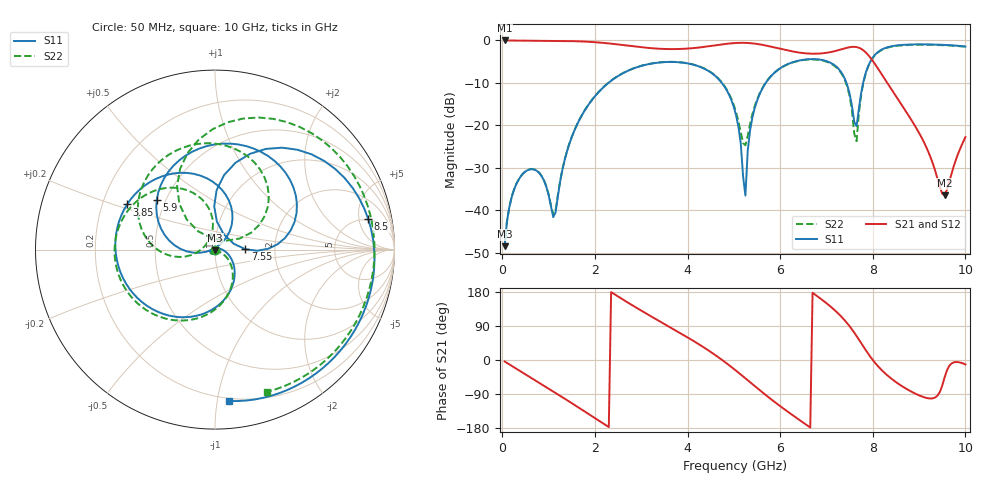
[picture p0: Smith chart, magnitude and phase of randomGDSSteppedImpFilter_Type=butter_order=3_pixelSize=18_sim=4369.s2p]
! freq	dB(S11)	phase(S11)	dB(S12)	phase(S12)
!  dB(S21)	phase(S21)	dB(S22)	phase(S22)
!S-par simulation data
#  GHz  S  DB  R 50
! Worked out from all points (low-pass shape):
!   200 points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, 50 MHz to 10 GHz, reference 50 ohm
!   highest |S21| = -0.01 dB at 50 MHz (marker M1); lowest = -36.5 dB at 9.55 GHz (marker M2)
!   |S21| within 3 dB of the highest: start of sweep to 6.522 GHz; 6.938 GHz to 7.864 GHz (926.6 MHz wide, 12.5 % of centre)
!   lowest |S11| = -48.5 dB at 50 MHz (marker M3), VSWR 1.01, Z = 50 - j0.375 ohm
!   |S11| at or under -10 dB: start of sweep to 2.292 GHz; 4.74 GHz to 5.69 GHz (950.4 MHz wide, 18.2 % of centre); 7.431 GHz to 7.793 GHz (362 MHz wide, 4.76 % of centre)
!   |S22| runs from -48.5 to -1.0 dB; largest |S21 - S12| = 0
!   S11 on the Smith chart (normalised r, x): 50 MHz: 1.00, -0.01; 3.85 GHz: 0.31, +0.22; 5.9 GHz: 0.45, +0.30; 7.55 GHz: 1.41, +0.01; 8.5 GHz: 4.82, +6.77; 10 GHz: 0.18, -1.08
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0.05  -48.47 -83.7  -0.01 -3.8  -0.01 -3.8  -48.45 -82.9
0.2  -37.02 -104.0  -0.03 -15.1  -0.03 -15.1  -36.99 -100.8
0.55  -30.55 -136.0  -0.06 -41.4  -0.06 -41.4  -30.50 -125.4
1.1  -41.63 112.4  -0.10 -82.9  -0.10 -82.9  -40.99 -98.2
1.75  -17.04 -41.2  -0.26 -133.5  -0.26 -133.5  -17.00 -47.9
2.45  -8.73 -101.0  -0.89 171.4  -0.89 171.4  -8.70 -97.7
3.4  -5.19 -174.0  -1.96 102.1  -1.96 102.1  -5.16 -162.0
3.85  -5.18 152.8  -2.01 70.5  -2.01 70.5  -5.15 169.2
4.45  -7.18 105.5  -1.38 25.4  -1.38 25.4  -7.12 128.9
5.05  -17.71 51.1  -0.60 -28.4  -0.60 -28.4  -16.99 94.6
5.25  -36.56 177.0  -0.58 -48.4  -0.58 -48.4  -24.71 155.0
5.4  -18.20 -172.1  -0.69 -63.6  -0.69 -63.6  -17.41 -167.1
5.9  -7.39 139.5  -1.72 -112.6  -1.72 -112.6  -7.38 163.9
6.7  -4.40 68.9  -3.13 177.4  -3.13 177.4  -4.48 100.3
7.3  -7.20 14.4  -2.17 117.2  -2.17 117.2  -7.41 45.2
7.55  -15.40 0.7  -1.52 80.9  -1.52 80.9  -16.47 24.2
7.65  -20.21 59.4  -1.57 63.3  -1.57 63.3  -23.74 105.2
7.85  -7.57 83.1  -2.84 25.8  -2.84 25.8  -7.73 120.9
8.35  -1.51 24.2  -10.63 -44.2  -10.63 -44.2  -1.61 55.3
8.5  -1.20 11.2  -13.13 -58.3  -13.13 -58.3  -1.30 40.9
9.55  -1.05 -56.8  -36.48 -46.3  -36.48 -46.3  -1.14 -38.2
10  -1.44 -84.6  -22.78 -11.6  -22.78 -11.6  -1.48 -69.9
